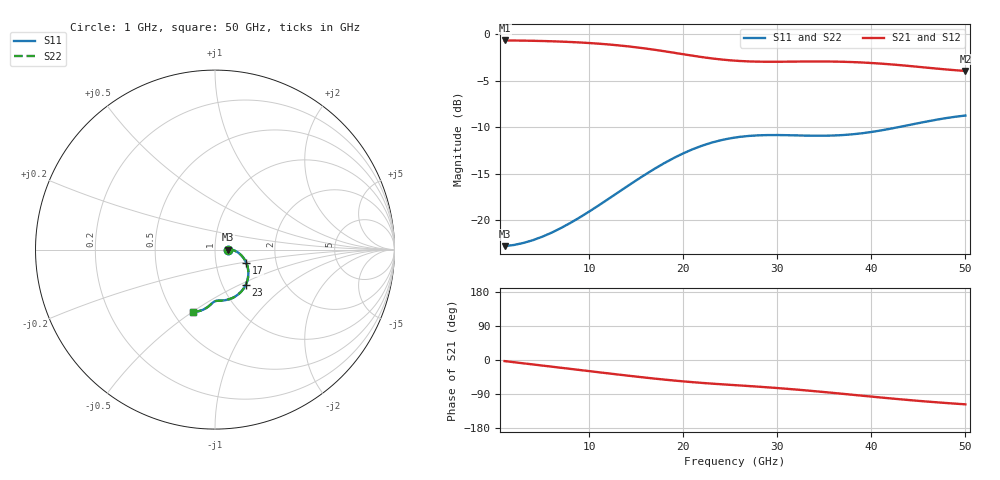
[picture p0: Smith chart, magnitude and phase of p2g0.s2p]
! Impedora 0.10.0 via model, case p2g0 (fullwave/cases.json), 2026-11-19
! One plane pair, no stitching vias (the return current spreads into the planes): ports in the antipads.
! Ports: 1 = upper end, 2 = lower end, 50 ohm.
! Compared with the fine 3D mesh.
# Hz S RI R 50
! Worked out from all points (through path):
!   50 points, 1 GHz to 50 GHz, reference 50 ohm
!   highest |S21| = -0.65 dB at 1 GHz (marker M1); lowest = -3.9 dB at 50 GHz (marker M2)
!   group delay of S21, straight-line fit = 6.28 ps
!   lowest |S11| = -22.8 dB at 1 GHz (marker M3), VSWR 1.16, Z = 57.8 + j0.06 ohm
!   |S11| at or under -10 dB: start of sweep to 42.75 GHz
!   |S22| runs from -22.8 to -8.7 dB; largest |S21 - S12| = 0
!   S11 on the Smith chart (normalised r, x): 1 GHz: 1.16, +0.00; 17 GHz: 1.40, -0.22; 23 GHz: 1.28, -0.55; 50 GHz: 0.63, -0.50
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1e9  0.0727 0.000516  0.9262 -0.0473  0.9262 -0.0473  0.0727 0.000516
3e9  0.0757 0.00134  0.9145 -0.1412  0.9145 -0.1412  0.0757 0.00134
5e9  0.0817 0.00145  0.8911 -0.2328  0.8911 -0.2328  0.0817 0.00145
7e9  0.0911 0.00016  0.8562 -0.3205  0.8562 -0.3205  0.0911 0.00016
1e10  0.1115 -0.00676  0.7829 -0.4405  0.7829 -0.4405  0.1115 -0.00676
1.2e10  0.129 -0.0169  0.7213 -0.5094  0.7213 -0.5094  0.129 -0.0169
1.4e10  0.1483 -0.0338  0.6516 -0.5664  0.6516 -0.5664  0.1483 -0.0338
1.6e10  0.1669 -0.0589  0.577 -0.6093  0.577 -0.6093  0.1669 -0.0589
1.7e10  0.1748 -0.0749  0.5394 -0.6251  0.5394 -0.6251  0.1748 -0.0749
1.8e10  0.181 -0.093  0.5023 -0.6371  0.5023 -0.6371  0.181 -0.093
2.1e10  0.184 -0.1563  0.401 -0.6548  0.401 -0.6548  0.184 -0.1563
2.3e10  0.17 -0.1991  0.3458 -0.6576  0.3458 -0.6576  0.17 -0.1991
2.6e10  0.1294 -0.2497  0.2791 -0.663  0.2791 -0.663  0.1294 -0.2497
2.9e10  0.0807 -0.2761  0.218 -0.6783  0.218 -0.6783  0.0807 -0.2761
3.2e10  0.04 -0.2837  0.1485 -0.6984  0.1485 -0.6984  0.04 -0.2837
3.4e10  0.0204 -0.2845  0.0952 -0.7088  0.0952 -0.7088  0.0204 -0.2845
3.6e10  0.00607 -0.286  0.0377 -0.713  0.0377 -0.713  0.00607 -0.286
3.8e10  -0.00505 -0.2903  -0.0218 -0.7093  -0.0218 -0.7093  -0.00505 -0.2903
4e10  -0.0156 -0.2984  -0.0801 -0.697  -0.0801 -0.697  -0.0156 -0.2984
4.2e10  -0.0281 -0.3096  -0.1346 -0.677  -0.1346 -0.677  -0.0281 -0.3096
4.6e10  -0.066 -0.3345  -0.2243 -0.6224  -0.2243 -0.6224  -0.066 -0.3345
5e10  -0.1198 -0.3462  -0.2887 -0.5666  -0.2887 -0.5666  -0.1198 -0.3462
